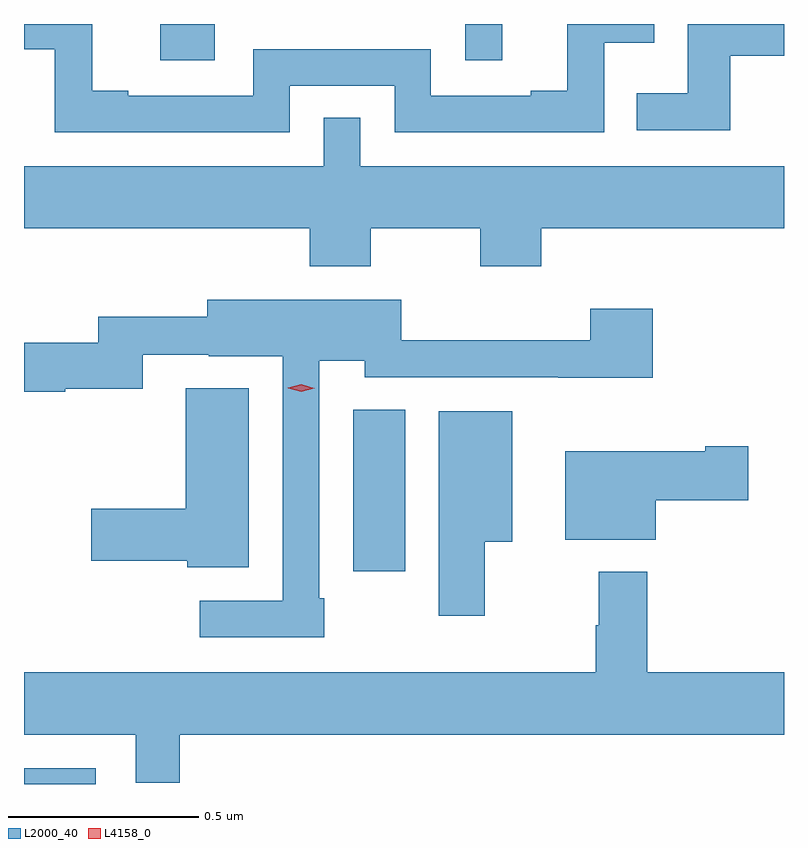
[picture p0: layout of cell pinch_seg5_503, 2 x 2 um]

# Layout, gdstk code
import gdstk
lib = gdstk.Library(unit=1e-6, precision=1e-09)
def R(c, l, rs):  # rectangles x0, y0, x1, y1
    for r in rs: c.add(gdstk.rectangle(r[:2], r[2:], *l))
def P(c, l, *ps):  # polygons
    for p in ps: c.add(gdstk.Polygon(p, *l))
L2000_40 = (2000, 40)
L4158_0 = (4158, 0)

pinch_seg5_503 = lib.new_cell('pinch_seg5_503')
R(pinch_seg5_503, L2000_40, [(905.751,841.978,905.94,842.019), (906.617,842.538,906.754,842.963), (906.109,843.882,906.253,843.978), (906.912,843.882,907.009,843.978)])
P(pinch_seg5_503, L2000_40, [(907.609,843.894),(907.751,843.894),(907.751,843.978),(907.498,843.978),(907.498,843.796),(907.363,843.796),(907.363,843.699),(907.609,843.699)],
  [(906.45,843.816),(906.726,843.816),(906.726,843.693),(907.278,843.693),(907.278,843.929),(907.41,843.929),(907.41,843.978),(907.181,843.978),(907.181,843.802),(907.085,843.802),(907.085,843.789),(906.822,843.789),(906.822,843.912),(906.354,843.912),(906.354,843.789),(906.025,843.789),(906.025,843.802),(905.93,843.802),(905.93,843.978),(905.751,843.978),(905.751,843.912),(905.832,843.912),(905.832,843.693),(906.45,843.693)],
  [(906.663,843.44),(906.952,843.44),(906.952,843.341),(907.112,843.341),(907.112,843.44),(907.751,843.44),(907.751,843.604),(906.636,843.604),(906.636,843.731),(906.54,843.731),(906.54,843.604),(905.751,843.604),(905.751,843.44),(906.503,843.44),(906.503,843.341),(906.663,843.341)],
  [(906.541,842.467),(906.528,842.467),(906.528,843.092),(906.648,843.092),(906.648,843.048),(907.157,843.048),(907.157,843.047),(907.406,843.047),(907.406,843.229),(907.241,843.229),(907.241,843.146),(906.744,843.146),(906.744,843.253),(906.233,843.253),(906.233,843.207),(905.947,843.207),(905.947,843.139),(905.751,843.139),(905.751,843.01),(905.86,843.01),(905.86,843.018),(906.063,843.018),(906.063,843.108),(906.237,843.108),(906.237,843.104),(906.432,843.104),(906.432,842.46),(906.213,842.46),(906.213,842.364),(906.541,842.364)],
  [(906.343,843.019),(906.176,843.019),(906.176,842.703),(905.928,842.703),(905.928,842.566),(906.18,842.566),(906.18,842.549),(906.343,842.549)],
  [(906.964,842.615),(907.036,842.615),(907.036,842.959),(906.842,842.959),(906.842,842.421),(906.964,842.421)],
  [(907.414,842.725),(907.657,842.725),(907.657,842.867),(907.544,842.867),(907.544,842.854),(907.175,842.854),(907.175,842.621),(907.414,842.621)],
  [(906.161,842.108),(907.751,842.108),(907.751,842.272),(907.391,842.272),(907.391,842.536),(907.263,842.536),(907.263,842.396),(907.255,842.396),(907.255,842.272),(905.751,842.272),(905.751,842.108),(906.045,842.108),(906.045,841.981),(906.161,841.981)])
P(pinch_seg5_503, L4158_0, [(906.48,843.01),(906.446,843.02),(906.445,843.021),(906.446,843.021),(906.48,843.03),(906.515,843.02),(906.516,843.02),(906.515,843.02)])

lib.write_gds('pinch_seg5_503.gds')
